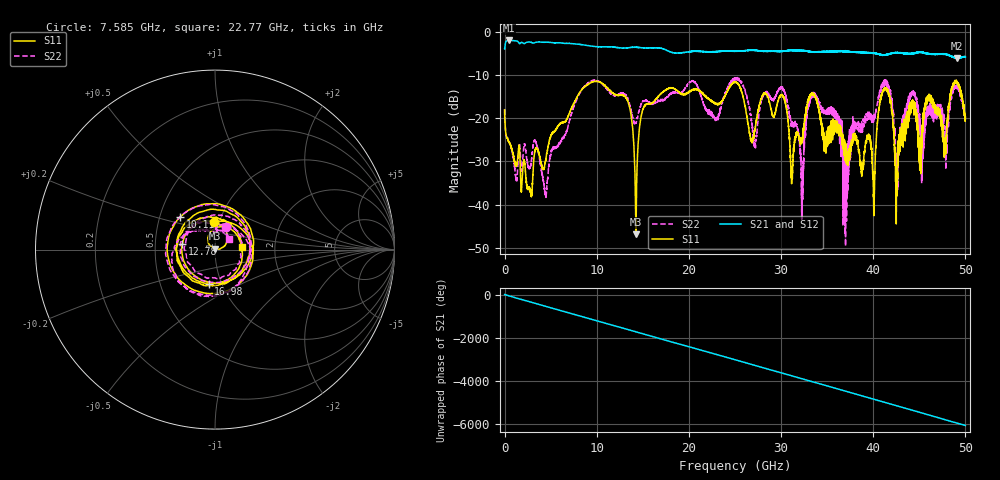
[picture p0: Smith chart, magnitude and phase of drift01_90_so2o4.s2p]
!Created with skrf (http://scikit-rf.org).
# Hz S RI R 50.0
!freq ReS11 ImS11 ReS21 ImS21 ReS12 ImS12 ReS22 ImS22
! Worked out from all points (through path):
!   10001 points, 300 kHz to 50 GHz, reference 50 ohm
!   highest |S21| = -2.00 dB at 490.3 MHz (marker M1); lowest = -6.1 dB at 49.05 GHz (marker M2)
!   group delay of S21, straight-line fit = 336 ps
!   lowest |S11| = -46.9 dB at 14.25 GHz (marker M3), VSWR 1.01, Z = 50.1 + j0.448 ohm
!   |S11| at or under -10 dB: start of sweep to end of sweep
!   |S22| runs from -49.6 to -10.6 dB; largest |S21 - S12| = 0.023
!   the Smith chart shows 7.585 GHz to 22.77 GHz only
!   S11 on the Smith chart (normalised r, x): 7.585 GHz: 0.95, +0.30; 10.11 GHz: 0.64, +0.25; 12.78 GHz: 0.69, +0.04; 16.98 GHz: 0.87, -0.34; 22.77 GHz: 1.35, +0.03
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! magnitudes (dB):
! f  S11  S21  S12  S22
! 300 kHz  -18.1  -4.0  -4.0  -17.9
! 490.3 MHz  -25.5  -2.0  -2.0  -25.5
! 4.44 GHz  -29.9  -2.4  -2.4  -37.8
! 7.585 GHz  -16.2  -2.8  -2.8  -17.0
! 8.335 GHz  -13.5  -3.0  -3.0  -13.5
! 10.11 GHz  -11.5  -3.4  -3.5  -11.3
! 12.78 GHz  -14.7  -3.8  -3.8  -14.3
! 14.25 GHz  -46.9  -3.6  -3.6  -21.1
! 16.67 GHz  -14.9  -3.7  -3.7  -15.9
! 16.98 GHz  -14.2  -3.8  -3.8  -15.6
! 22.77 GHz  -16.5  -4.6  -4.6  -19.8
! 25 GHz  -11.6  -4.5  -4.5  -11.0
! 27.15 GHz  -22.5  -4.3  -4.3  -25.9
! 30.2 GHz  -15.0  -4.5  -4.5  -13.3
! 32.25 GHz  -24.8  -4.3  -4.3  -41.5
! 33.34 GHz  -14.2  -4.7  -4.6  -14.6
! 36.96 GHz  -27.5  -4.6  -4.6  -36.8
! 40.06 GHz  -41.4  -4.9  -5.0  -20.2
! 41.67 GHz  -14.1  -5.1  -5.2  -12.8
! 42.56 GHz  -35.6  -4.9  -4.8  -28.3
! 49.05 GHz  -11.5  -6.1  -6.1  -12.4
! 50 GHz  -19.8  -5.8  -5.8  -19.5
